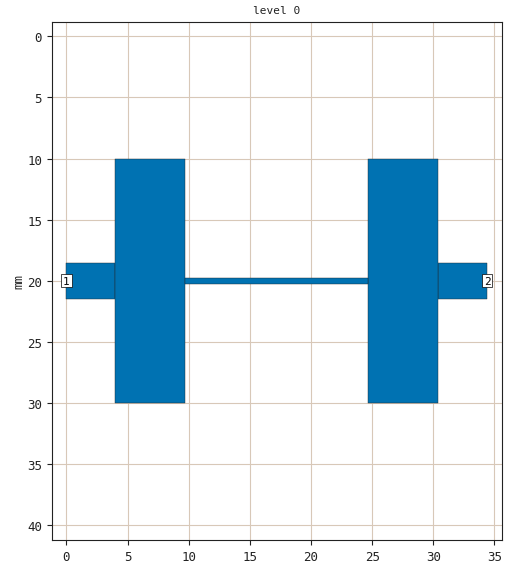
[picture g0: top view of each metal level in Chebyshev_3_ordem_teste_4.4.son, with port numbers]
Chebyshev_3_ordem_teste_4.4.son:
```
FTYP SONPROJ 13 ! Sonnet Project File
VER 15.53.lite
HEADER
LIC SL290709.106431 847bebfebdba DESKTOP-1CMJ3DP Arihe
DAT 06/20/2019 17:48:10
BUILT_BY_CREATED xgeom 15.53-Lite 04/13/2019 20:59:13
BUILT_BY_SAVED xgeom 15.53-Lite
MDATE 06/20/2019 17:46:47
HDATE 06/20/2019 17:46:47
END HEADER
DIM
FREQ GHZ
RSVY OHMM
IND NH
LNG MM
ANG DEG
CON /OH
CAP PF
RES OH
END DIM
FREQ
ABS 1.0e-9 3.0 
END FREQ
CONTROL
ABS
OPTIONS  -dj 
SPEED 0
CACHE_ABS 1
TARG_ABS 300
Q_ACC N
END CONTROL
GEO
DRP1 LEFT LINK
POLY 12 1
1
DRP1 RIGHT LINK
POLY 14 1
0
TMET "Lossless" 0 SUP 0 0 0 0
BMET "Lossless" 0 SUP 0 0 0 0
MET "Copper" 1 NOR 58000000 0 0.0347 
BOX 1 34.4 40 688 800 20 0
      20 1 1 0 0 0 0 "Air"
      1.5306 4.4 1 0.02 0 0 0 "FR-4"
LORGN 0 40 U 
POR1 STD
POLY 12 1
3
1 50 0 0 0 -6.333873891e-007 20 
POR1 STD
POLY 14 1
1
2 50 0 0 0 34.39999937 20 
NUM 5
0 5 0 N 12 1 1 100 100 0 0 0 Y
-6.333873891e-007 18.55
3.999999367 18.55
3.999999367 21.45
-6.333873891e-007 21.45
-6.333873891e-007 18.55
END
0 5 0 N 14 1 1 100 100 0 0 0 Y
30.39999937 18.55
34.39999937 18.55
34.39999937 21.45
30.39999937 21.45
30.39999937 18.55
END
0 5 0 N 16 1 1 100 100 0 0 0 Y
3.999999367 10
9.699999367 10
9.699999367 30
3.999999367 30
3.999999367 10
END
0 5 0 N 17 1 1 100 100 0 0 0 Y
24.69999937 10
30.39999937 10
30.39999937 30
24.69999937 30
24.69999937 10
END
0 5 0 N 18 1 1 100 100 0 0 0 Y
9.699999367 19.75
24.69999937 19.75
24.69999937 20.25
9.699999367 20.25
9.699999367 19.75
END
END GEO
OPT
MAX 100
VARS
END
END OPT
VARSWP
END VARSWP
QSG
IMPORT NO
EXTRA_METAL NO
UNITS YES
ALIGN NO
REF NO
VIEW_RES NO
METALS YES
USED NO
END QSG
```
